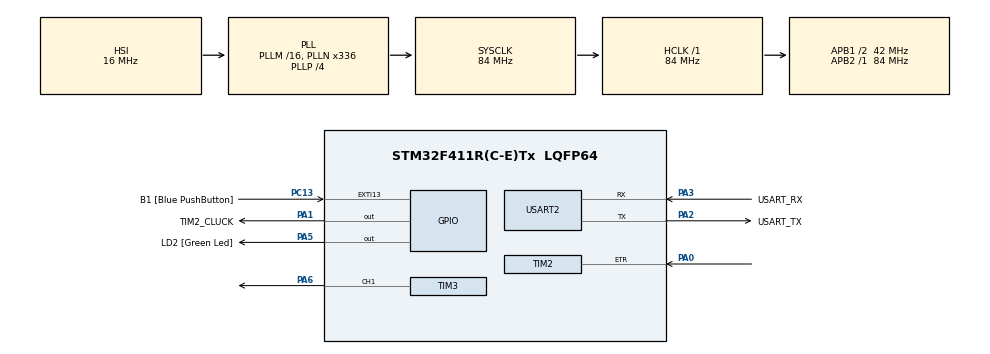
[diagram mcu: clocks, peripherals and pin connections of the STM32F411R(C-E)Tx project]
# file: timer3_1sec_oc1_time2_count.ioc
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Mcu.Family=STM32F4
Mcu.Name=STM32F411R(C-E)Tx
Mcu.Package=LQFP64
NVIC.PriorityGroup=NVIC_PRIORITYGROUP_0
NVIC.TIM3_IRQn=true\:0\:0\:false\:false\:true\:true\:true\:true
NVIC.TIM4_IRQn=true\:0\:0\:false\:false\:true\:true\:true\:true
PA0-WKUP.Signal=S_TIM2_CH1_ETR
PA1.GPIO_Label=TIM2_CLUCK
PA1.Signal=GPIO_Output
PA13.GPIO_Label=TMS
PA13.Mode=Serial_Wire
PA13.Signal=SYS_JTMS-SWDIO
PA14.GPIO_Label=TCK
PA14.Mode=Serial_Wire
PA14.Signal=SYS_JTCK-SWCLK
PA2.GPIO_Label=USART_TX
PA2.Mode=Asynchronous
PA2.Signal=USART2_TX
PA3.GPIO_Label=USART_RX
PA3.Mode=Asynchronous
PA3.Signal=USART2_RX
PA5.GPIO_Label=LD2 [Green Led]
PA5.Signal=GPIO_Output
PA6.Signal=S_TIM3_CH1
PB3.GPIO_Label=SWO
PB3.Signal=SYS_JTDO-SWO
PC13-ANTI_TAMP.GPIO_Label=B1 [Blue PushButton]
PC13-ANTI_TAMP.GPIO_ModeDefaultEXTI=GPIO_MODE_IT_FALLING
PC13-ANTI_TAMP.Signal=GPXTI13
PC14-OSC32_IN.Signal=RCC_OSC32_IN
PC15-OSC32_OUT.Signal=RCC_OSC32_OUT
PH0\ -\ OSC_IN.Signal=RCC_OSC_IN
PH1\ -\ OSC_OUT.Signal=RCC_OSC_OUT
ProjectManager.HeapSize=0x200
ProjectManager.StackSize=0x400
ProjectManager.TargetToolchain=STM32CubeIDE
RCC.48MHZClocksFreq_Value=84000000
RCC.AHBFreq_Value=84000000
RCC.APB1CLKDivider=RCC_HCLK_DIV2
RCC.APB1Freq_Value=42000000
RCC.APB1TimFreq_Value=84000000
RCC.APB2Freq_Value=84000000
RCC.APB2TimFreq_Value=84000000
RCC.CortexFreq_Value=84000000
RCC.FLatency-AdvancedSettings=FLASH_LATENCY_2
RCC.HCLKFreq_Value=84000000
RCC.HSE_VALUE=8000000
RCC.HSI_VALUE=16000000
RCC.LSE_VALUE=32768
RCC.PLLN=336
RCC.PLLP=RCC_PLLP_DIV4
RCC.SYSCLKFreq_VALUE=84000000
RCC.SYSCLKSource=RCC_SYSCLKSOURCE_PLLCLK
RCC.VCOOutputFreq_Value=336000000
SH.S_TIM2_CH1_ETR.0=TIM2_ETR,ClockSourceETR_Mode2
SH.S_TIM3_CH1.0=TIM3_CH1,Output Compare1 CH1
TIM3.AutoReloadPreload=TIM_AUTORELOAD_PRELOAD_ENABLE
TIM3.Channel-Output\ Compare1\ CH1=TIM_CHANNEL_1
TIM3.OCMode_1=TIM_OCMODE_TOGGLE
TIM3.Period=10000-1
TIM3.Prescaler=8400-1
TIM3.Pulse-Output\ Compare1\ CH1=5000-1
TIM4.AutoReloadPreload=TIM_AUTORELOAD_PRELOAD_ENABLE
TIM4.Period=1000-1
TIM4.Prescaler=84-1
USART2.VirtualMode=VM_ASYNC
VP_TIM3_VS_ClockSourceINT.Mode=Internal
VP_TIM4_VS_ClockSourceINT.Mode=Internal
board=NUCLEO-F411RE

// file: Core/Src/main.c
/* USER CODE BEGIN Header */
/**
  ******************************************************************************
  * @file           : main.c
  * @brief          : Main program body
  ******************************************************************************
  * @attention
  *
  * Copyright (c) 2025 STMicroelectronics.
  * All rights reserved.
  *
  * This software is licensed under terms that can be found in the LICENSE file
  * in the root directory of this software component.
  * If no LICENSE file comes with this software, it is provided AS-IS.
  *
  ******************************************************************************
  */
/* USER CODE END Header */
#include "main.h"

/* USER CODE BEGIN PD */
#ifdef __GNUC__
/* With GCC, small printf (option LD Linker->Libraries->Small printf
   set to 'Yes') calls __io_putchar() */
#define PUTCHAR_PROTOTYPE int __io_putchar(int ch)
#else
#define PUTCHAR_PROTOTYPE int fputc(int ch, FILE *f)
#endif /* __GNUC__ */
/* USER CODE END PD */

TIM_HandleTypeDef htim2;
TIM_HandleTypeDef htim3;
TIM_HandleTypeDef htim4;

UART_HandleTypeDef huart2;

/* USER CODE BEGIN PV */
volatile unsigned int time3SecCnt = 0;
volatile int time3SecFlag = 0;
volatile unsigned int time3Cnt = 0;
volatile int time4MsFlag = 0;
volatile unsigned int time4MsCnt = 0;
/* USER CODE END PV */

void SystemClock_Config(void);
static void MX_GPIO_Init(void);
static void MX_USART2_UART_Init(void);
static void MX_TIM3_Init(void);
static void MX_TIM2_Init(void);
static void MX_TIM4_Init(void);

int main(void)
{

  /* MCU Configuration--------------------------------------------------------*/

  /* Reset of all peripherals, Initializes the Flash interface and the Systick. */
  HAL_Init();

  /* Configure the system clock */
  SystemClock_Config();

  /* Initialize all configured peripherals */
  MX_GPIO_Init();
  MX_USART2_UART_Init();
  MX_TIM3_Init();
  MX_TIM2_Init();
  MX_TIM4_Init();
  /* USER CODE BEGIN 2 */
  printf("start main()\r\n");
  if(HAL_TIM_Base_Start_IT(&htim3) != HAL_OK)
	  Error_Handler();
  if(HAL_TIM_OC_Start_IT(&htim3, TIM_CHANNEL_1) != HAL_OK)
	  Error_Handler();
  if(HAL_TIM_Base_Start(&htim2) != HAL_OK)
	  Error_Handler();
  if(HAL_TIM_Base_Start_IT(&htim4) != HAL_OK)
	  Error_Handler();
  /* USER CODE END 2 */

  /* Infinite loop */
  /* USER CODE BEGIN WHILE */
  while (1)
  {
	  if(time3SecFlag)
	  {
		  time3SecFlag = 0;
		  printf("time3SecCnt : %d\r\n", time3SecCnt);
		  printf("timer2 counter : %u\r\n", TIM2->CNT);
	  }
	  if(time4MsFlag)
	  {
		  if(!(time4MsCnt % 100))
		  {
			  HAL_GPIO_TogglePin(TIM2_CLUCK_GPIO_Port, TIM2_CLUCK_Pin);
		  }
		  time4MsFlag = 0;
	  }
    /* USER CODE END WHILE */

  }
}

void SystemClock_Config(void)
{
  RCC_OscInitTypeDef RCC_OscInitStruct = {0};
  RCC_ClkInitTypeDef RCC_ClkInitStruct = {0};

  /** Configure the main internal regulator output voltage
  */
  __HAL_RCC_PWR_CLK_ENABLE();
  __HAL_PWR_VOLTAGESCALING_CONFIG(PWR_REGULATOR_VOLTAGE_SCALE1);

  /** Initializes the RCC Oscillators according to the specified parameters
  * in the RCC_OscInitTypeDef structure.
  */
  RCC_OscInitStruct.OscillatorType = RCC_OSCILLATORTYPE_HSI;
  RCC_OscInitStruct.HSIState = RCC_HSI_ON;
  RCC_OscInitStruct.HSICalibrationValue = RCC_HSICALIBRATION_DEFAULT;
  RCC_OscInitStruct.PLL.PLLState = RCC_PLL_ON;
  RCC_OscInitStruct.PLL.PLLSource = RCC_PLLSOURCE_HSI;
  RCC_OscInitStruct.PLL.PLLM = 16;
  RCC_OscInitStruct.PLL.PLLN = 336;
  RCC_OscInitStruct.PLL.PLLP = RCC_PLLP_DIV4;
  RCC_OscInitStruct.PLL.PLLQ = 4;
  if (HAL_RCC_OscConfig(&RCC_OscInitStruct) != HAL_OK)
  {
    Error_Handler();
  }

  /** Initializes the CPU, AHB and APB buses clocks
  */
  RCC_ClkInitStruct.ClockType = RCC_CLOCKTYPE_HCLK|RCC_CLOCKTYPE_SYSCLK
                              |RCC_CLOCKTYPE_PCLK1|RCC_CLOCKTYPE_PCLK2;
  RCC_ClkInitStruct.SYSCLKSource = RCC_SYSCLKSOURCE_PLLCLK;
  RCC_ClkInitStruct.AHBCLKDivider = RCC_SYSCLK_DIV1;
  RCC_ClkInitStruct.APB1CLKDivider = RCC_HCLK_DIV2;
  RCC_ClkInitStruct.APB2CLKDivider = RCC_HCLK_DIV1;

  if (HAL_RCC_ClockConfig(&RCC_ClkInitStruct, FLASH_LATENCY_2) != HAL_OK)
  {
    Error_Handler();
  }
}

static void MX_TIM2_Init(void)
{

  TIM_ClockConfigTypeDef sClockSourceConfig = {0};
  TIM_MasterConfigTypeDef sMasterConfig = {0};

  htim2.Instance = TIM2;
  htim2.Init.Prescaler = 0;
  htim2.Init.CounterMode = TIM_COUNTERMODE_UP;
  htim2.Init.Period = 4294967295;
  htim2.Init.ClockDivision = TIM_CLOCKDIVISION_DIV1;
  htim2.Init.AutoReloadPreload = TIM_AUTORELOAD_PRELOAD_DISABLE;
  if (HAL_TIM_Base_Init(&htim2) != HAL_OK)
  {
    Error_Handler();
  }
  sClockSourceConfig.ClockSource = TIM_CLOCKSOURCE_ETRMODE2;
  sClockSourceConfig.ClockPolarity = TIM_CLOCKPOLARITY_NONINVERTED;
  sClockSourceConfig.ClockPrescaler = TIM_CLOCKPRESCALER_DIV1;
  sClockSourceConfig.ClockFilter = 0;
  if (HAL_TIM_ConfigClockSource(&htim2, &sClockSourceConfig) != HAL_OK)
  {
    Error_Handler();
  }
  sMasterConfig.MasterOutputTrigger = TIM_TRGO_RESET;
  sMasterConfig.MasterSlaveMode = TIM_MASTERSLAVEMODE_DISABLE;
  if (HAL_TIMEx_MasterConfigSynchronization(&htim2, &sMasterConfig) != HAL_OK)
  {
    Error_Handler();
  }

}

static void MX_TIM3_Init(void)
{

  TIM_ClockConfigTypeDef sClockSourceConfig = {0};
  TIM_MasterConfigTypeDef sMasterConfig = {0};
  TIM_OC_InitTypeDef sConfigOC = {0};

  htim3.Instance = TIM3;
  htim3.Init.Prescaler = 8400-1;
  htim3.Init.CounterMode = TIM_COUNTERMODE_UP;
  htim3.Init.Period = 10000-1;
  htim3.Init.ClockDivision = TIM_CLOCKDIVISION_DIV1;
  htim3.Init.AutoReloadPreload = TIM_AUTORELOAD_PRELOAD_ENABLE;
  if (HAL_TIM_Base_Init(&htim3) != HAL_OK)
  {
    Error_Handler();
  }
  sClockSourceConfig.ClockSource = TIM_CLOCKSOURCE_INTERNAL;
  if (HAL_TIM_ConfigClockSource(&htim3, &sClockSourceConfig) != HAL_OK)
  {
    Error_Handler();
  }
  if (HAL_TIM_OC_Init(&htim3) != HAL_OK)
  {
    Error_Handler();
  }
  sMasterConfig.MasterOutputTrigger = TIM_TRGO_RESET;
  sMasterConfig.MasterSlaveMode = TIM_MASTERSLAVEMODE_DISABLE;
  if (HAL_TIMEx_MasterConfigSynchronization(&htim3, &sMasterConfig) != HAL_OK)
  {
    Error_Handler();
  }
  sConfigOC.OCMode = TIM_OCMODE_TOGGLE;
  sConfigOC.Pulse = 5000-1;
  sConfigOC.OCPolarity = TIM_OCPOLARITY_HIGH;
  sConfigOC.OCFastMode = TIM_OCFAST_DISABLE;
  if (HAL_TIM_OC_ConfigChannel(&htim3, &sConfigOC, TIM_CHANNEL_1) != HAL_OK)
  {
    Error_Handler();
  }
  HAL_TIM_MspPostInit(&htim3);

}

static void MX_TIM4_Init(void)
{

  TIM_ClockConfigTypeDef sClockSourceConfig = {0};
  TIM_MasterConfigTypeDef sMasterConfig = {0};

  htim4.Instance = TIM4;
  htim4.Init.Prescaler = 84-1;
  htim4.Init.CounterMode = TIM_COUNTERMODE_UP;
  htim4.Init.Period = 1000-1;
  htim4.Init.ClockDivision = TIM_CLOCKDIVISION_DIV1;
  htim4.Init.AutoReloadPreload = TIM_AUTORELOAD_PRELOAD_ENABLE;
  if (HAL_TIM_Base_Init(&htim4) != HAL_OK)
  {
    Error_Handler();
  }
  sClockSourceConfig.ClockSource = TIM_CLOCKSOURCE_INTERNAL;
  if (HAL_TIM_ConfigClockSource(&htim4, &sClockSourceConfig) != HAL_OK)
  {
    Error_Handler();
  }
  sMasterConfig.MasterOutputTrigger = TIM_TRGO_RESET;
  sMasterConfig.MasterSlaveMode = TIM_MASTERSLAVEMODE_DISABLE;
  if (HAL_TIMEx_MasterConfigSynchronization(&htim4, &sMasterConfig) != HAL_OK)
  {
    Error_Handler();
  }

}

static void MX_USART2_UART_Init(void)
{

  huart2.Instance = USART2;
  huart2.Init.BaudRate = 115200;
  huart2.Init.WordLength = UART_WORDLENGTH_8B;
  huart2.Init.StopBits = UART_STOPBITS_1;
  huart2.Init.Parity = UART_PARITY_NONE;
  huart2.Init.Mode = UART_MODE_TX_RX;
  huart2.Init.HwFlowCtl = UART_HWCONTROL_NONE;
  huart2.Init.OverSampling = UART_OVERSAMPLING_16;
  if (HAL_UART_Init(&huart2) != HAL_OK)
  {
    Error_Handler();
  }

}

static void MX_GPIO_Init(void)
{
  GPIO_InitTypeDef GPIO_InitStruct = {0};

  /* GPIO Ports Clock Enable */
  __HAL_RCC_GPIOC_CLK_ENABLE();
  __HAL_RCC_GPIOH_CLK_ENABLE();
  __HAL_RCC_GPIOA_CLK_ENABLE();
  __HAL_RCC_GPIOB_CLK_ENABLE();

  /*Configure GPIO pin Output Level */
  HAL_GPIO_WritePin(GPIOA, TIM2_CLUCK_Pin|LD2_Pin, GPIO_PIN_RESET);

  /*Configure GPIO pin : B1_Pin */
  GPIO_InitStruct.Pin = B1_Pin;
  GPIO_InitStruct.Mode = GPIO_MODE_IT_FALLING;
  GPIO_InitStruct.Pull = GPIO_NOPULL;
  HAL_GPIO_Init(B1_GPIO_Port, &GPIO_InitStruct);

  /*Configure GPIO pins : TIM2_CLUCK_Pin LD2_Pin */
  GPIO_InitStruct.Pin = TIM2_CLUCK_Pin|LD2_Pin;
  GPIO_InitStruct.Mode = GPIO_MODE_OUTPUT_PP;
  GPIO_InitStruct.Pull = GPIO_NOPULL;
  GPIO_InitStruct.Speed = GPIO_SPEED_FREQ_LOW;
  HAL_GPIO_Init(GPIOA, &GPIO_InitStruct);

}

/* USER CODE BEGIN 4 */
void HAL_TIM_PeriodElapsedCallback(TIM_HandleTypeDef * htim)
{
	if(htim -> Instance == TIM3) // timer3
	{
		//HAL_GPIO_TogglePin(LD2_GPIO_Port, LD2_Pin);
		time3SecFlag = 1;
		time3SecCnt++; // 1sec
	}
	if(htim -> Instance == TIM4) // timer4
	{
		//HAL_GPIO_TogglePin(LD2_GPIO_Port, LD2_Pin);
		time4MsFlag = 1;
		time4MsCnt++; // 1ms
	}
}
void HAL_TIM_OC_DelayElapsedCallback(TIM_HandleTypeDef *htim)
{
	if(htim -> Instance == TIM3) // timer3
	{
		HAL_GPIO_TogglePin(LD2_GPIO_Port, LD2_Pin);
	}
}
PUTCHAR_PROTOTYPE
{
  /* Place your implementation of fputc here */
  /* e.g. write a character to the USART6 and Loop until the end of transmission */
  HAL_UART_Transmit(&huart2, (uint8_t *)&ch, 1, 0xFFFF);

  return ch;
}
/* USER CODE END 4 */

void Error_Handler(void)
{
  __disable_irq();
  while (1)
  {
  }
}
